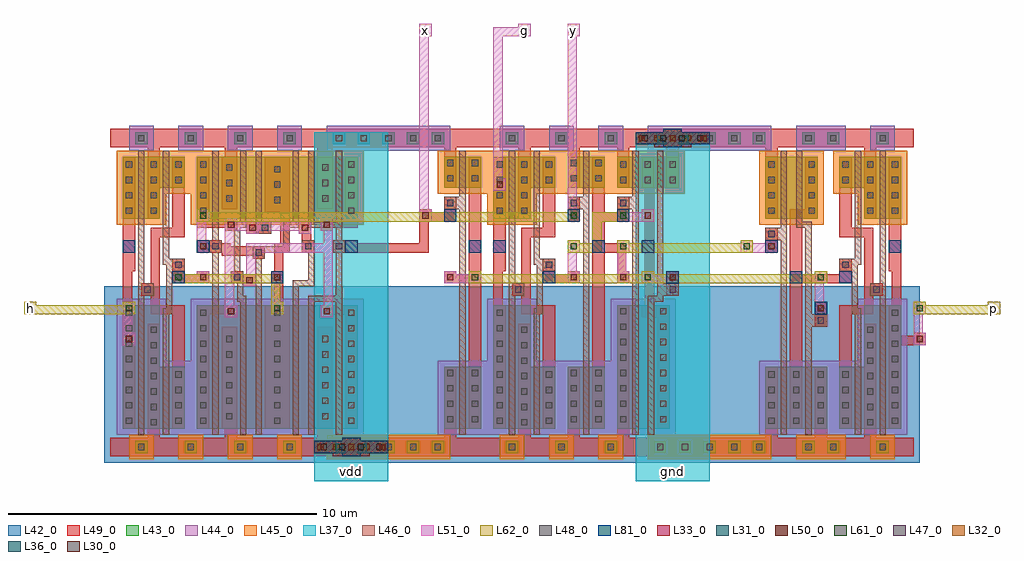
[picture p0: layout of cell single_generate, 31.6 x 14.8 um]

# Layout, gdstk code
from math import pi, radians
import gdstk
lib = gdstk.Library(unit=1e-6, precision=1e-09)
def R(c, l, rs):  # rectangles x0, y0, x1, y1
    for r in rs: c.add(gdstk.rectangle(r[:2], r[2:], *l))
def A(c, l, x, y, w, h, nx, ny, dx, dy):  # array of equal rectangles
    R(c, l, [(x+i*dx, y+j*dy, x+i*dx+w, y+j*dy+h) for i in range(nx) for j in range(ny)])
L30_0 = (30, 0)
L31_0 = (31, 0)
L32_0 = (32, 0)
L33_0 = (33, 0)
L36_0 = (36, 0)
L37_0 = (37, 0)
L42_0 = (42, 0)
L43_0 = (43, 0)
L44_0 = (44, 0)
L45_0 = (45, 0)
L46_0 = (46, 0)
L47_0 = (47, 0)
L48_0 = (48, 0)
L49_0 = (49, 0)
L50_0 = (50, 0)
L51_0 = (51, 0)
L61_0 = (61, 0)
L62_0 = (62, 0)
L81_0 = (81, 0)

bufx2 = lib.new_cell('BUFX2')
R(bufx2, L42_0, [(-0.5,4.8,2.8,10.5)])
R(bufx2, L43_0, [(-0.2,-0.2,0.2,0.2), (1.4,-0.2,1.8,0.2), (0.2,0.6,2.2,1.6), (1,1.6,2.2,2.6), (1,5.4,2.2,7.4), (0.2,7.4,2.2,9.4), (-0.2,9.8,0.2,10.2), (1.4,9.8,1.8,10.2)])
R(bufx2, L44_0, [(-0.4,-0.4,0.4,0.4), (1.2,-0.4,2,0.4), (0.8,5.2,2.4,7.2), (0,7.2,2.4,9.6)])
R(bufx2, L45_0, [(0,0.4,2.4,1.8), (0.8,1.8,2.4,2.8), (-0.4,9.6,0.4,10.4), (1.2,9.6,2,10.4)])
R(bufx2, L46_0, [(0.7,0.4,0.9,3.9), (1.5,0.4,1.7,4.7), (0.2,3.9,0.9,4.1), (0.2,4.1,0.8,4.3), (0.6,4.3,0.8,5.5), (1.2,4.7,1.7,5.1), (1.5,5.1,1.7,9.6), (0.6,5.5,0.9,5.7), (0.7,5.7,0.9,9.6)])
R(bufx2, L47_0, [(0.3,4,0.5,4.2), (1.3,4.8,1.5,5)])
A(bufx2, L48_0, 0.3, 0.75, 0.2, 0.2, 3, 2, 0.8, 0.5)
A(bufx2, L48_0, 1.9, 5.55, 0.2, 0.2, 1, 8, 0, 0.5)
A(bufx2, L48_0, 1.1, 6.1, 0.2, 0.2, 1, 7, 0, 0.5)
A(bufx2, L48_0, 0.3, 7.55, 0.2, 0.2, 1, 4, 0, 0.5)
R(bufx2, L48_0, [(-0.1,-0.1,0.1,0.1), (1.5,-0.1,1.7,0.1), (1.1,1.75,1.3,1.95), (1.9,1.75,2.1,1.95), (1.1,2.25,1.3,2.45), (1.9,2.25,2.1,2.45), (-0.1,9.9,0.1,10.1), (1.5,9.9,1.7,10.1)])
R(bufx2, L49_0, [(-0.2,-0.3,2.6,0.3), (1,0.3,1.4,2.6), (0.2,0.6,0.6,2.9), (1.8,0.6,2.2,4.3), (0.2,2.9,1.3,3.2), (1,3.2,1.3,4.7), (0.2,3.9,0.6,4.7), (1.9,4.3,2.2,5.4), (1,4.7,1.6,5.1), (1,5.1,1.3,5.4), (0.2,5.4,1.3,5.7), (1.8,5.4,2.2,9.4), (0.2,5.7,0.6,9.4), (1,6,1.4,9.7), (-0.2,9.7,2.6,10.3)])
R(bufx2, L81_0, [(1.8,3.3,2.2,3.7), (0.2,4.3,0.6,4.7)])
bufx2.add(gdstk.Label('vdd', (0.4,10), layer=109, texttype=0))
bufx2.add(gdstk.Label('gnd', (0.4,0), layer=109, texttype=0))
bufx2.add(gdstk.Label('A', (0.4,4.5), layer=109, texttype=0))
bufx2.add(gdstk.Label('Y', (2,3.5), layer=109, texttype=0))

xor2x1 = lib.new_cell('XOR2X1')
R(xor2x1, L42_0, [(-0.8,4.8,6.4,10.5)])
A(xor2x1, L43_0, -0.2, -0.2, 0.4, 0.4, 4, 2, 1.6, 10)
R(xor2x1, L43_0, [(0.2,0.6,5.4,2.6), (0.2,5.4,5.4,9.4)])
A(xor2x1, L44_0, -0.4, -0.4, 0.8, 0.8, 4, 1, 1.6, 0)
R(xor2x1, L44_0, [(0,5.2,5.6,9.6)])
A(xor2x1, L45_0, -0.4, 9.6, 0.8, 0.8, 4, 1, 1.6, 0)
R(xor2x1, L45_0, [(0,0.4,5.6,2.8)])
R(xor2x1, L46_0, [(0.7,0.4,0.9,3.3), (1.6,0.4,1.8,2.7), (2.1,0.4,2.3,2.7), (3.3,0.4,3.5,2.7), (3.8,0.4,4,2.7), (4.7,0.4,4.9,2.7), (1.4,2.7,1.8,2.9), (2.1,2.7,2.6,3.1), (3,2.7,3.5,2.9), (3.8,2.7,4.9,2.9), (1.4,2.9,1.6,4.3), (3,2.9,3.2,3.5), (4.7,2.9,4.9,3.3), (0.6,3.3,1,3.7), (3.6,3.3,4,3.7), (4.6,3.3,5,3.7), (2,3.5,3.2,3.7), (0.7,3.7,0.9,9.6), (2,3.7,2.4,3.9), (3.8,3.7,4,4.6), (4.7,3.7,4.9,5.1), (2.1,3.9,2.3,9.6), (1.3,4.3,1.7,4.7), (3.3,4.6,4,4.8), (1.5,4.7,1.7,5.1), (3.3,4.8,3.5,9.6), (1.5,5.1,1.8,5.3), (3.8,5.1,4.9,5.3), (1.6,5.3,1.8,9.6), (3.8,5.3,4,9.6), (4.7,5.3,4.9,9.6)])
R(xor2x1, L47_0, [(2.3,2.8,2.5,3), (0.7,3.4,0.9,3.6), (3.7,3.4,3.9,3.6), (4.7,3.4,4.9,3.6), (2.1,3.6,2.3,3.8), (1.4,4.4,1.6,4.6)])
A(xor2x1, L48_0, -0.1, -0.1, 0.2, 0.2, 4, 2, 1.6, 10)
A(xor2x1, L48_0, 0.3, 0.75, 0.2, 0.2, 1, 4, 0, 0.5)
A(xor2x1, L48_0, 5.1, 0.75, 0.2, 0.2, 1, 4, 0, 0.5)
A(xor2x1, L48_0, 1.15, 0.85, 0.2, 0.2, 1, 3, 0, 0.5)
A(xor2x1, L48_0, 4.25, 0.85, 0.2, 0.2, 1, 3, 0, 0.5)
A(xor2x1, L48_0, 2.7, 0.9, 0.2, 0.2, 1, 3, 0, 0.5)
A(xor2x1, L48_0, 0.3, 5.55, 0.2, 0.2, 3, 8, 2.4, 0.5)
A(xor2x1, L48_0, 1.15, 6.4, 0.2, 0.2, 1, 6, 0, 0.5)
A(xor2x1, L48_0, 4.25, 6.4, 0.2, 0.2, 1, 6, 0, 0.5)
R(xor2x1, L49_0, [(-0.2,-0.3,5.8,0.3), (1.1,0.3,1.5,0.6), (4.1,0.3,4.6,2.3), (0.2,0.6,0.6,2.6), (1,0.6,1.5,2.3), (2.4,0.6,3.2,2.4), (5,0.6,5.4,2.6), (2.9,2.4,3.2,3.4), (0.2,2.6,1.5,2.9), (4.2,2.6,5.4,2.9), (1.8,2.7,2.6,3.1), (3.5,2.7,3.9,3.1), (1.1,2.9,1.5,3), (4.2,2.9,4.6,3), (3.6,3.1,3.9,3.3), (0.2,3.3,1,3.4), (3.6,3.3,4,3.7), (4.6,3.3,5.4,3.7), (0.2,3.4,1.3,3.5), (2.7,3.4,3.2,3.7), (0.2,3.5,2.4,3.7), (1,3.7,2.4,3.8), (2.7,3.7,3,4.3), (2,3.8,2.4,3.9), (1.3,4.3,1.7,4.4), (2.6,4.3,3,4.7), (1.3,4.4,2.1,4.7), (1.7,4.7,2.1,4.8), (2.7,4.7,3,5.4), (0.2,5.4,1.5,5.7), (2.4,5.4,3.2,9.4), (4.2,5.4,5.4,5.7), (0.2,5.7,0.6,9.4), (1.1,5.7,1.5,5.8), (4.2,5.7,4.6,5.8), (5,5.7,5.4,9.4), (1,6.1,1.5,9.4), (4.1,6.1,4.6,9.7), (1.1,9.4,1.5,9.7), (-0.2,9.7,5.8,10.3)])
R(xor2x1, L50_0, [(1.2,2.7,1.4,2.9), (4.3,2.7,4.5,2.9), (1.9,2.8,2.1,3), (3.6,2.8,3.8,3), (1.8,4.5,2,4.7), (1.2,5.5,1.4,5.7), (4.3,5.5,4.5,5.7)])
R(xor2x1, L51_0, [(1.1,2.6,1.5,2.7), (4.2,2.6,4.6,3), (1.1,2.7,3.9,3), (1.1,3,1.4,5.4), (1.8,3,2.2,3.1), (3.5,3,3.9,3.1), (4.3,3,4.6,3.4), (1.8,3.4,4.6,3.7), (1.8,3.7,2.1,4.4), (4.3,3.7,4.6,5.4), (1.7,4.4,2.1,4.8), (1.1,5.4,1.5,5.8), (4.2,5.4,4.6,5.8)])
R(xor2x1, L81_0, [(0.2,3.3,0.6,3.7), (5,3.3,5.4,3.7), (2.6,4.3,3,4.7)])
xor2x1.add(gdstk.Label('Y', (2.8,4.5), layer=109, texttype=0))
xor2x1.add(gdstk.Label('vdd', (0.4,10), layer=109, texttype=0))
xor2x1.add(gdstk.Label('B', (5.2,3.5), layer=109, texttype=0))
xor2x1.add(gdstk.Label('A', (0.4,3.5), layer=109, texttype=0))
xor2x1.add(gdstk.Label('gnd', (0.4,0), layer=109, texttype=0))

fill = lib.new_cell('FILL')
R(fill, L42_0, [(-0.8,4.8,1.6,10.5)])
R(fill, L43_0, [(-0.2,-0.2,0.2,0.2), (0.6,-0.2,1,0.2), (-0.2,9.8,0.2,10.2), (0.6,9.8,1,10.2)])
R(fill, L44_0, [(-0.4,-0.4,1.2,0.4)])
R(fill, L45_0, [(-0.4,9.6,1.2,10.4)])
R(fill, L48_0, [(-0.1,-0.1,0.1,0.1), (0.7,-0.1,0.9,0.1), (-0.1,9.9,0.1,10.1), (0.7,9.9,0.9,10.1)])
R(fill, L49_0, [(-0.2,-0.3,1,0.3), (-0.2,9.7,1,10.3)])
fill.add(gdstk.Label('vdd', (0.4,10), layer=109, texttype=0))
fill.add(gdstk.Label('gnd', (0.4,0), layer=109, texttype=0))

invx1 = lib.new_cell('INVX1')
R(invx1, L42_0, [(-0.9,4.8,2.6,10.5)])
R(invx1, L43_0, [(-0.2,-0.2,0.2,0.2), (0.2,0.6,1.4,1.6), (0.2,7.4,1.4,9.4), (-0.2,9.8,0.2,10.2)])
R(invx1, L44_0, [(-0.4,-0.4,0.4,0.4), (0,7.2,1.6,9.6)])
R(invx1, L45_0, [(0,0.4,1.6,1.8), (-0.4,9.6,0.4,10.4)])
R(invx1, L46_0, [(0.7,0.4,0.9,1.9), (0.2,1.9,0.9,2.3), (0.7,2.3,0.9,9.6)])
R(invx1, L47_0, [(0.3,2,0.5,2.2)])
A(invx1, L48_0, 0.3, 7.5, 0.2, 0.2, 1, 4, 0, 0.5)
A(invx1, L48_0, 1.1, 7.5, 0.2, 0.2, 1, 4, 0, 0.5)
R(invx1, L48_0, [(-0.1,-0.1,0.1,0.1), (0.3,0.7,0.5,0.9), (1.1,0.7,1.3,0.9), (0.3,1.2,0.5,1.4), (1.1,1.2,1.3,1.4), (-0.1,9.9,0.1,10.1)])
R(invx1, L49_0, [(-0.2,-0.3,1.8,0.3), (0.2,0.3,0.6,1.6), (1,0.6,1.4,9.4), (0.2,1.9,0.6,2.7), (0.2,7.4,0.6,9.7), (-0.2,9.7,1.8,10.3)])
R(invx1, L81_0, [(0.2,2.3,0.6,2.7), (1,3.3,1.4,3.7)])
invx1.add(gdstk.Label('A', (0.4,2.5), layer=109, texttype=0))
invx1.add(gdstk.Label('Y', (1.2,3.5), layer=109, texttype=0))
invx1.add(gdstk.Label('vdd', (0.4,10), layer=109, texttype=0))
invx1.add(gdstk.Label('gnd', (0.4,0), layer=109, texttype=0))

nand2x1 = lib.new_cell('NAND2X1')
R(nand2x1, L42_0, [(-0.8,4.8,3.2,10.5)])
R(nand2x1, L43_0, [(-0.2,-0.2,0.2,0.2), (1.4,-0.2,1.8,0.2), (0.2,0.6,1.9,2.6), (0.2,7.4,2.2,9.4), (-0.2,9.8,0.2,10.2), (1.4,9.8,1.8,10.2)])
R(nand2x1, L44_0, [(-0.4,-0.4,0.4,0.4), (1.2,-0.4,2,0.4), (0,7.2,2.4,9.6)])
R(nand2x1, L45_0, [(0,0.4,2.1,2.8), (-0.4,9.6,0.4,10.4), (1.2,9.6,2,10.4)])
R(nand2x1, L46_0, [(0.7,0.4,0.9,2.9), (1.2,0.4,1.4,2.7), (1.2,2.7,1.7,2.9), (0.2,2.9,0.9,3.3), (1.5,2.9,1.7,5.7), (0.7,3.3,0.9,9.6), (1.5,5.7,2.2,6.1), (1.5,6.1,1.7,9.6)])
R(nand2x1, L47_0, [(0.3,3,0.5,3.2), (1.9,5.8,2.1,6)])
A(nand2x1, L48_0, 0.3, 0.75, 0.2, 0.2, 1, 4, 0, 0.5)
A(nand2x1, L48_0, 1.6, 0.75, 0.2, 0.2, 1, 4, 0, 0.5)
A(nand2x1, L48_0, 0.3, 7.55, 0.2, 0.2, 3, 4, 0.8, 0.5)
R(nand2x1, L48_0, [(-0.1,-0.1,0.1,0.1), (1.5,-0.1,1.7,0.1), (-0.1,9.9,0.1,10.1), (1.5,9.9,1.7,10.1)])
R(nand2x1, L49_0, [(-0.2,-0.3,2.6,0.3), (0.2,0.3,0.6,2.6), (1.5,0.6,1.9,2.3), (1,2.3,1.9,2.6), (1,2.6,1.4,9.4), (0.2,2.9,0.6,3.7), (1.8,5.3,2.2,6.1), (0.2,7.4,0.6,9.7), (1.8,7.4,2.2,9.7), (-0.2,9.7,2.6,10.3)])
R(nand2x1, L81_0, [(0.2,3.3,0.6,3.7), (1,4.3,1.4,4.7), (1.8,5.3,2.2,5.7)])
nand2x1.add(gdstk.Label('vdd', (0.4,10), layer=109, texttype=0))
nand2x1.add(gdstk.Label('Y', (1.2,4.5), layer=109, texttype=0))
nand2x1.add(gdstk.Label('gnd', (0.4,0), layer=109, texttype=0))
nand2x1.add(gdstk.Label('A', (0.4,3.5), layer=109, texttype=0))
nand2x1.add(gdstk.Label('B', (2,5.5), layer=109, texttype=0))

nor2x1 = lib.new_cell('NOR2X1')
R(nor2x1, L42_0, [(-0.8,4.8,3.2,10.5)])
R(nor2x1, L43_0, [(-0.2,-0.2,0.2,0.2), (1.4,-0.2,1.8,0.2), (0.2,0.6,2.2,1.6), (0.2,5.4,1.9,9.4), (-0.2,9.8,0.2,10.2), (1.4,9.8,1.8,10.2)])
R(nor2x1, L44_0, [(-0.4,-0.4,0.4,0.4), (1.2,-0.4,2,0.4), (0,5.2,2.1,9.6)])
R(nor2x1, L45_0, [(0,0.4,2.4,1.8), (-0.4,9.6,0.4,10.4), (1.2,9.6,2,10.4)])
R(nor2x1, L46_0, [(0.7,0.4,0.9,1.9), (1.5,0.4,1.7,4.7), (0.2,1.9,0.9,2.3), (0.7,2.3,0.9,9.6), (1.5,4.7,2.2,5.1), (1.2,5.1,1.7,5.3), (1.2,5.3,1.4,9.6)])
R(nor2x1, L47_0, [(0.3,2,0.5,2.2), (1.9,4.8,2.1,5)])
A(nor2x1, L48_0, 0.3, 0.75, 0.2, 0.2, 3, 2, 0.8, 0.5)
A(nor2x1, L48_0, 0.3, 5.5, 0.2, 0.2, 1, 8, 0, 0.5)
A(nor2x1, L48_0, 1.6, 5.5, 0.2, 0.2, 1, 8, 0, 0.5)
R(nor2x1, L48_0, [(-0.1,-0.1,0.1,0.1), (1.5,-0.1,1.7,0.1), (-0.1,9.9,0.1,10.1), (1.5,9.9,1.7,10.1)])
R(nor2x1, L49_0, [(-0.2,-0.3,2.6,0.3), (0.2,0.3,0.6,1.6), (1.8,0.3,2.2,1.6), (1,0.6,1.4,1.6), (1.1,1.6,1.4,3.3), (0.2,1.9,0.6,2.7), (1,3.3,1.4,3.7), (1.1,3.7,1.4,5.4), (1.8,4.3,2.2,5.1), (0.2,5.4,0.6,9.7), (1,5.4,1.9,5.8), (1.5,5.8,1.9,9.4), (-0.2,9.7,2.6,10.3)])
R(nor2x1, L81_0, [(0.2,2.3,0.6,2.7), (1,3.3,1.4,3.7), (1.8,4.3,2.2,4.7)])
nor2x1.add(gdstk.Label('vdd', (0.4,10), layer=109, texttype=0))
nor2x1.add(gdstk.Label('B', (2,4.5), layer=109, texttype=0))
nor2x1.add(gdstk.Label('gnd', (0.4,0), layer=109, texttype=0))
nor2x1.add(gdstk.Label('Y', (1.2,3.5), layer=109, texttype=0))
nor2x1.add(gdstk.Label('A', (0.4,2.5), layer=109, texttype=0))

single_generate = lib.new_cell('single_generate')
A(single_generate, L30_0, 7, 0.4, 0.2, 0.2, 4, 1, 0.6, 0)
A(single_generate, L30_0, 17.4, 10.4, 0.2, 0.2, 4, 1, 0.6, 0)
R(single_generate, L31_0, [(7.7,0.2,8.3,0.3), (6.8,0.3,9.2,0.7), (7.7,0.7,8.3,0.8), (18.1,10.2,18.7,10.3), (17.2,10.3,19.6,10.7), (18.1,10.7,18.7,10.8)])
A(single_generate, L32_0, 6.9, 0.4, 0.2, 0.2, 5, 1, 0.5, 0)
A(single_generate, L32_0, 17.3, 10.4, 0.2, 0.2, 5, 1, 0.5, 0)
R(single_generate, L33_0, [(7.4,0.2,8.6,0.3), (6.8,0.3,9.2,0.7), (7.7,0.7,8.3,0.8), (17.8,10.2,19,10.3), (17.2,10.3,19.6,10.7), (18.1,10.7,18.7,10.8)])
R(single_generate, L36_0, [(7.5,0.3,7.8,0.6), (8.2,0.3,8.5,0.6), (17.9,10.3,18.2,10.6), (18.6,10.3,18.9,10.6)])
R(single_generate, L37_0, [(6.8,-0.6,9.2,10.7), (17.2,-0.6,19.6,10.7)])
R(single_generate, L49_0, [(7.7,0.2,8.3,0.3), (6.8,0.3,9.2,0.7), (7.7,0.7,8.3,0.8), (0.6,3.8,1,4.2), (25.4,3.8,26.6,4.1), (26.2,4.1,26.6,4.2), (23,4.8,23.4,5.2), (2.2,5.8,3.4,6.1), (5.4,5.8,5.8,6.2), (11,5.8,12.1,6.1), (14.2,5.8,15.4,6.1), (16.6,5.8,17,6.2), (18.2,5.8,18.6,6.2), (22.2,5.8,24.1,6.1), (3,6.1,3.4,6.2), (11,6.1,11.4,6.2), (15,6.1,15.4,6.2), (16.6,6.2,16.9,6.8), (3,6.8,3.4,7.2), (7.8,6.8,10.5,7.1), (15.8,6.8,16.9,7.1), (21.4,6.8,21.8,7.2), (10.2,7.1,10.5,7.8), (10.2,7.8,11.3,8.1), (15,7.8,15.4,8.2), (15.8,7.8,16.9,8.1), (17.4,7.8,17.8,8.2), (10.2,8.1,10.6,8.2), (12.6,8.8,13,9.2), (18.1,10.2,18.7,10.3), (17.2,10.3,19.6,10.7), (18.1,10.7,18.7,10.8)])
A(single_generate, L50_0, 6.9, 0.4, 0.2, 0.2, 5, 1, 0.5, 0)
A(single_generate, L50_0, 15.1, 5.9, 0.2, 0.2, 3, 1, 1.6, 0)
A(single_generate, L50_0, 17.3, 10.4, 0.2, 0.2, 5, 1, 0.5, 0)
R(single_generate, L50_0, [(0.7,3.9,0.9,4.1), (26.3,3.9,26.5,4.1), (23.1,4.9,23.3,5.1), (3.1,5.9,3.3,6.1), (5.5,5.9,5.7,6.1), (11.1,5.9,11.3,6.1), (3.1,6.9,3.3,7.1), (21.5,6.9,21.7,7.1), (10.3,7.9,10.5,8.1), (15.1,7.9,15.3,8.1), (17.5,7.9,17.7,8.1), (12.7,8.9,12.9,9.1)])
A(single_generate, L51_0, 15, 5.8, 0.4, 0.4, 1, 3, 0, 1)
R(single_generate, L51_0, [(7.7,0.2,8.3,0.3), (6.8,0.3,9.2,0.7), (7.7,0.7,8.3,0.8), (0.6,3.8,1,4.2), (26.2,3.8,26.6,4.2), (0.6,4.2,0.9,4.8), (26.2,4.2,26.5,4.8), (0.6,4.8,1,5.2), (5.4,4.8,5.8,5.2), (23,4.8,23.4,5.2), (26.2,4.8,26.6,5.2), (5.4,5.2,5.7,5.8), (23,5.2,23.3,5.8), (2.2,5.8,3.4,6.1), (5.4,5.8,5.8,6.2), (11,5.8,12.2,6.1), (16.6,5.8,17,6.2), (17.4,5.8,18.6,6.1), (23,5.8,23.4,6.2), (2.2,6.1,2.6,6.2), (3,6.1,3.4,6.2), (11,6.1,11.4,6.2), (11.8,6.1,12.2,6.2), (17.4,6.1,17.8,6.2), (18.2,6.1,18.6,6.2), (15,6.2,15.3,6.8), (16.6,6.2,16.9,6.8), (3,6.8,3.4,7.2), (16.6,6.8,17,7.2), (20.6,6.8,21.8,7.1), (20.6,7.1,21,7.2), (21.4,7.1,21.8,7.2), (3,7.2,3.3,7.8), (3,7.8,3.4,8.2), (10.2,7.8,10.6,8.2), (16.6,7.8,17.8,8.1), (16.6,8.1,17,8.2), (17.4,8.1,17.8,8.2), (10.2,8.2,10.5,13.8), (15,8.2,15.3,13.8), (12.6,8.8,13,9.2), (12.6,9.2,12.9,13.8), (18.1,10.2,18.7,10.3), (17.2,10.3,19.6,10.7), (18.1,10.7,18.7,10.8), (10.2,13.8,10.6,14.2), (12.6,13.8,13.8,14.1), (15,13.8,15.4,14.2), (13.4,14.1,13.8,14.2)])
A(single_generate, L61_0, 6.9, 0.4, 0.2, 0.2, 5, 1, 0.5, 0)
A(single_generate, L61_0, 11.9, 5.9, 0.2, 0.2, 3, 1, 5.6, 0)
A(single_generate, L61_0, 17.3, 10.4, 0.2, 0.2, 5, 1, 0.5, 0)
R(single_generate, L61_0, [(0.7,4.9,0.9,5.1), (5.5,4.9,5.7,5.1), (26.3,4.9,26.5,5.1), (2.3,5.9,2.5,6.1), (15.1,6.9,15.3,7.1), (16.7,6.9,16.9,7.1), (20.7,6.9,20.9,7.1), (3.1,7.9,3.3,8.1), (15.1,7.9,15.3,8.1), (16.7,7.9,16.9,8.1)])
A(single_generate, L62_0, 11.8, 6.1, 0.4, 0.1, 3, 1, 5.6, 0)
R(single_generate, L62_0, [(7.7,0.2,8.3,0.3), (6.8,0.3,9.2,0.7), (7.7,0.7,8.3,0.8), (-2.6,4.8,1,5.1), (5.4,4.8,5.8,5.2), (26.2,4.8,29,5.1), (-2.6,5.1,-2.2,5.2), (0.6,5.1,1,5.2), (26.2,5.1,26.6,5.2), (28.6,5.1,29,5.2), (5.4,5.2,5.7,5.8), (2.2,5.8,5.7,6.1), (11.8,5.8,23.4,6.1), (2.2,6.1,2.6,6.2), (15,6.8,16.1,7.1), (16.6,6.8,21,7.1), (15,7.1,15.4,7.2), (15.8,7.1,16.1,7.8), (16.6,7.1,17,7.2), (20.6,7.1,21,7.2), (3,7.8,15.4,8.1), (15.8,7.8,17,8.1), (3,8.1,3.4,8.2), (15,8.1,15.4,8.2), (16.6,8.1,17,8.2), (18.1,10.2,18.7,10.3), (17.2,10.3,19.6,10.7), (18.1,10.7,18.7,10.8)])
single_generate.add(gdstk.Reference(bufx2, (2.8,10.5), rotation=pi))
single_generate.add(gdstk.Reference(xor2x1, (2.8,10.5), x_reflection=True))
single_generate.add(gdstk.Reference(fill, (10.8,10.5), rotation=pi))
single_generate.add(gdstk.Reference(fill, (10,10.5), rotation=pi))
single_generate.add(gdstk.Reference(fill, (9.2,10.5), rotation=pi))
single_generate.add(gdstk.Reference(bufx2, (14.8,10.5), rotation=pi))
single_generate.add(gdstk.Reference(invx1, (14.8,10.5), x_reflection=True))
single_generate.add(gdstk.Reference(invx1, (10.8,10.5), x_reflection=True))
single_generate.add(gdstk.Reference(fill, (21.2,10.5), rotation=pi))
single_generate.add(gdstk.Reference(fill, (20.4,10.5), rotation=pi))
single_generate.add(gdstk.Reference(fill, (19.6,10.5), rotation=pi))
single_generate.add(gdstk.Reference(nand2x1, (21.2,10.5), x_reflection=True))
single_generate.add(gdstk.Reference(nor2x1, (16.4,10.5), x_reflection=True))
single_generate.add(gdstk.Reference(bufx2, (23.6,10.5), x_reflection=True))
single_generate.add(gdstk.Label('gnd', (18.4,-0.3), layer=37, texttype=0))
single_generate.add(gdstk.Label('vdd', (8,-0.3), layer=37, texttype=0))
single_generate.add(gdstk.Label('g', (13.6,14), layer=51, texttype=0))
single_generate.add(gdstk.Label('h', (-2.4,5), layer=62, texttype=0))
single_generate.add(gdstk.Label('p', (28.8,5), layer=62, texttype=0))
single_generate.add(gdstk.Label('x', (10.4,14), layer=51, texttype=0))
single_generate.add(gdstk.Label('y', (15.2,14), layer=51, texttype=0))

lib.write_gds('single_generate.gds')
